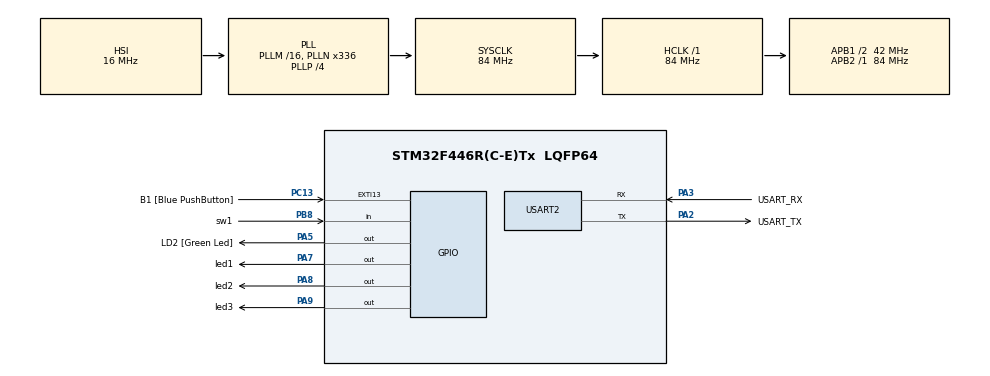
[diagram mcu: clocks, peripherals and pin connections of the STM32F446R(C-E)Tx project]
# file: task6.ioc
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Mcu.Family=STM32F4
Mcu.Name=STM32F446R(C-E)Tx
Mcu.Package=LQFP64
NVIC.PriorityGroup=NVIC_PRIORITYGROUP_0
PA13.GPIO_Label=TMS
PA13.Mode=Serial_Wire
PA13.Signal=SYS_JTMS-SWDIO
PA14.GPIO_Label=TCK
PA14.Mode=Serial_Wire
PA14.Signal=SYS_JTCK-SWCLK
PA2.GPIO_Label=USART_TX
PA2.Mode=Asynchronous
PA2.Signal=USART2_TX
PA3.GPIO_Label=USART_RX
PA3.Mode=Asynchronous
PA3.Signal=USART2_RX
PA5.GPIO_Label=LD2 [Green Led]
PA5.Signal=GPIO_Output
PA7.GPIO_Label=led1
PA7.Signal=GPIO_Output
PA8.GPIO_Label=led2
PA8.Signal=GPIO_Output
PA9.GPIO_Label=led3
PA9.Signal=GPIO_Output
PB3.GPIO_Label=SWO
PB3.Signal=SYS_JTDO-SWO
PB8.GPIO_Label=sw1
PB8.GPIO_PuPd=GPIO_PULLUP
PB8.Signal=GPIO_Input
PC13.GPIO_Label=B1 [Blue PushButton]
PC13.GPIO_ModeDefaultEXTI=GPIO_MODE_IT_FALLING
PC13.Signal=GPXTI13
PC14-OSC32_IN.Mode=LSE-External-Oscillator
PC14-OSC32_IN.Signal=RCC_OSC32_IN
PC15-OSC32_OUT.Mode=LSE-External-Oscillator
PC15-OSC32_OUT.Signal=RCC_OSC32_OUT
PH0-OSC_IN.Mode=HSE-External-Oscillator
PH0-OSC_IN.Signal=RCC_OSC_IN
PH1-OSC_OUT.Mode=HSE-External-Oscillator
PH1-OSC_OUT.Signal=RCC_OSC_OUT
ProjectManager.HeapSize=0x200
ProjectManager.StackSize=0x400
ProjectManager.TargetToolchain=STM32CubeIDE
RCC.48MHZClocksFreq_Value=84000000
RCC.AHBFreq_Value=84000000
RCC.APB1CLKDivider=RCC_HCLK_DIV2
RCC.APB1Freq_Value=42000000
RCC.APB1TimFreq_Value=84000000
RCC.APB2Freq_Value=84000000
RCC.APB2TimFreq_Value=84000000
RCC.CortexFreq_Value=84000000
RCC.FLatency-AdvancedSettings=FLASH_LATENCY_2
RCC.HCLKFreq_Value=84000000
RCC.HSE_VALUE=8000000
RCC.HSI_VALUE=16000000
RCC.PLLN=336
RCC.PLLP=RCC_PLLP_DIV4
RCC.SYSCLKFreq_VALUE=84000000
RCC.SYSCLKSource=RCC_SYSCLKSOURCE_PLLCLK
RCC.USBFreq_Value=168000000
RCC.VCOOutputFreq_Value=336000000
USART2.VirtualMode=VM_ASYNC
board=NUCLEO-F446RE

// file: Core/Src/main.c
/* USER CODE BEGIN Header */
/**
  ******************************************************************************
  * @file           : main.c
  * @brief          : Main program body
  ******************************************************************************
  * @attention
  *
  * Copyright (c) 2024 STMicroelectronics.
  * All rights reserved.
  *
  * This software is licensed under terms that can be found in the LICENSE file
  * in the root directory of this software component.
  * If no LICENSE file comes with this software, it is provided AS-IS.
  *
  ******************************************************************************
  */
/* USER CODE END Header */
#include "main.h"

UART_HandleTypeDef huart2;

void SystemClock_Config(void);
static void MX_GPIO_Init(void);
static void MX_USART2_UART_Init(void);

int main(void)
{

  /* MCU Configuration--------------------------------------------------------*/

  /* Reset of all peripherals, Initializes the Flash interface and the Systick. */
  HAL_Init();

  /* Configure the system clock */
  SystemClock_Config();

  /* Initialize all configured peripherals */
  MX_GPIO_Init();
  MX_USART2_UART_Init();

  uint8_t swcount=0;
  /* Infinite loop */
  /* USER CODE BEGIN WHILE */
  while (1)
  {

	  if (HAL_GPIO_ReadPin(sw1_GPIO_Port, sw1_Pin)==0) // Assuming active-low switch
	      {
	        // Increment the switch press count
	        swcount++;

	        // Turn on the corresponding LED based on the switch press count
	        if (swcount == 1)
	        {
	          HAL_GPIO_WritePin(led1_GPIO_Port, led1_Pin, 1);
	        }
	        else if (swcount == 2)
	        {
	          HAL_GPIO_WritePin(led2_GPIO_Port, led2_Pin, 1);
	        }
	        else if (swcount == 3)
	        {
	          HAL_GPIO_WritePin(led3_GPIO_Port, led3_Pin, 1);
	        }

	        // Wait until the button is released
	        while (HAL_GPIO_ReadPin(sw1_GPIO_Port, sw1_Pin) == 0);

	        // Turn off all LEDs after releasing the switch
	        HAL_GPIO_WritePin(led1_GPIO_Port, led1_Pin, 0);
	        HAL_GPIO_WritePin(led2_GPIO_Port, led2_Pin, 0);
	        HAL_GPIO_WritePin(led3_GPIO_Port, led3_Pin, 0);

	        // Reset the switch press count after the third press
	        if (swcount == 3)
	        {
	        	swcount = 0;
	        }

	        // Debounce delay
	        HAL_Delay(100);
	      }
    /* USER CODE END WHILE */

  }
}

void SystemClock_Config(void)
{
  RCC_OscInitTypeDef RCC_OscInitStruct = {0};
  RCC_ClkInitTypeDef RCC_ClkInitStruct = {0};

  /** Configure the main internal regulator output voltage
  */
  __HAL_RCC_PWR_CLK_ENABLE();
  __HAL_PWR_VOLTAGESCALING_CONFIG(PWR_REGULATOR_VOLTAGE_SCALE3);

  /** Initializes the RCC Oscillators according to the specified parameters
  * in the RCC_OscInitTypeDef structure.
  */
  RCC_OscInitStruct.OscillatorType = RCC_OSCILLATORTYPE_HSI;
  RCC_OscInitStruct.HSIState = RCC_HSI_ON;
  RCC_OscInitStruct.HSICalibrationValue = RCC_HSICALIBRATION_DEFAULT;
  RCC_OscInitStruct.PLL.PLLState = RCC_PLL_ON;
  RCC_OscInitStruct.PLL.PLLSource = RCC_PLLSOURCE_HSI;
  RCC_OscInitStruct.PLL.PLLM = 16;
  RCC_OscInitStruct.PLL.PLLN = 336;
  RCC_OscInitStruct.PLL.PLLP = RCC_PLLP_DIV4;
  RCC_OscInitStruct.PLL.PLLQ = 2;
  RCC_OscInitStruct.PLL.PLLR = 2;
  if (HAL_RCC_OscConfig(&RCC_OscInitStruct) != HAL_OK)
  {
    Error_Handler();
  }

  /** Initializes the CPU, AHB and APB buses clocks
  */
  RCC_ClkInitStruct.ClockType = RCC_CLOCKTYPE_HCLK|RCC_CLOCKTYPE_SYSCLK
                              |RCC_CLOCKTYPE_PCLK1|RCC_CLOCKTYPE_PCLK2;
  RCC_ClkInitStruct.SYSCLKSource = RCC_SYSCLKSOURCE_PLLCLK;
  RCC_ClkInitStruct.AHBCLKDivider = RCC_SYSCLK_DIV1;
  RCC_ClkInitStruct.APB1CLKDivider = RCC_HCLK_DIV2;
  RCC_ClkInitStruct.APB2CLKDivider = RCC_HCLK_DIV1;

  if (HAL_RCC_ClockConfig(&RCC_ClkInitStruct, FLASH_LATENCY_2) != HAL_OK)
  {
    Error_Handler();
  }
}

static void MX_USART2_UART_Init(void)
{

  huart2.Instance = USART2;
  huart2.Init.BaudRate = 115200;
  huart2.Init.WordLength = UART_WORDLENGTH_8B;
  huart2.Init.StopBits = UART_STOPBITS_1;
  huart2.Init.Parity = UART_PARITY_NONE;
  huart2.Init.Mode = UART_MODE_TX_RX;
  huart2.Init.HwFlowCtl = UART_HWCONTROL_NONE;
  huart2.Init.OverSampling = UART_OVERSAMPLING_16;
  if (HAL_UART_Init(&huart2) != HAL_OK)
  {
    Error_Handler();
  }

}

static void MX_GPIO_Init(void)
{
  GPIO_InitTypeDef GPIO_InitStruct = {0};

  /* GPIO Ports Clock Enable */
  __HAL_RCC_GPIOC_CLK_ENABLE();
  __HAL_RCC_GPIOH_CLK_ENABLE();
  __HAL_RCC_GPIOA_CLK_ENABLE();
  __HAL_RCC_GPIOB_CLK_ENABLE();

  /*Configure GPIO pin Output Level */
  HAL_GPIO_WritePin(GPIOA, LD2_Pin|led1_Pin|led2_Pin|led3_Pin, GPIO_PIN_RESET);

  /*Configure GPIO pin : B1_Pin */
  GPIO_InitStruct.Pin = B1_Pin;
  GPIO_InitStruct.Mode = GPIO_MODE_IT_FALLING;
  GPIO_InitStruct.Pull = GPIO_NOPULL;
  HAL_GPIO_Init(B1_GPIO_Port, &GPIO_InitStruct);

  /*Configure GPIO pins : LD2_Pin led1_Pin led2_Pin led3_Pin */
  GPIO_InitStruct.Pin = LD2_Pin|led1_Pin|led2_Pin|led3_Pin;
  GPIO_InitStruct.Mode = GPIO_MODE_OUTPUT_PP;
  GPIO_InitStruct.Pull = GPIO_NOPULL;
  GPIO_InitStruct.Speed = GPIO_SPEED_FREQ_LOW;
  HAL_GPIO_Init(GPIOA, &GPIO_InitStruct);

  /*Configure GPIO pin : sw1_Pin */
  GPIO_InitStruct.Pin = sw1_Pin;
  GPIO_InitStruct.Mode = GPIO_MODE_INPUT;
  GPIO_InitStruct.Pull = GPIO_PULLUP;
  HAL_GPIO_Init(sw1_GPIO_Port, &GPIO_InitStruct);

}

void Error_Handler(void)
{
  __disable_irq();
  while (1)
  {
  }
}
